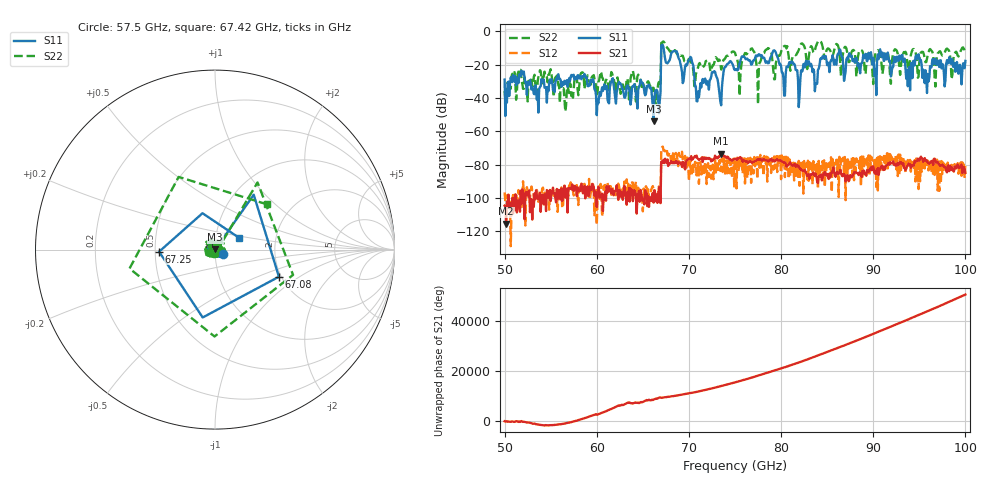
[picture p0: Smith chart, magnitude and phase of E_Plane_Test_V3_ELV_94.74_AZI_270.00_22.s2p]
! 11/26/2026 4:13:51 PM
! C:\ANRITSUVNA\TEMP\TEMP.S2P
! CHANNEL.1
! TR.MEASUREMENT
! RAW.DATA
# HZ S RI R 50.0
! FREQ.HZ  S11RE  S11IM  S21RE  S21IM  S12RE  S12IM  S22RE  S22IM
!; PortSelection: Port_12
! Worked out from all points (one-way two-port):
!   601 points, 50 GHz to 100 GHz, reference 50 ohm
!   highest |S21| = -73.51 dB at 73.5 GHz (marker M1); lowest = -115.4 dB at 50.17 GHz (marker M2)
!   lowest |S11| = -54.1 dB at 66.17 GHz (marker M3), VSWR 1.00, Z = 50.1 + j0.144 ohm
!   |S11| at or under -10 dB: start of sweep to 67 GHz; 67.24 GHz to end of sweep
!   |S22| runs from -48.2 to -5.6 dB; largest |S21 - S12| = 0.00041
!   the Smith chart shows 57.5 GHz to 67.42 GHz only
!   S11 on the Smith chart (normalised r, x): 57.5 GHz: 1.09, -0.05; 67.08 GHz: 1.94, -0.69; 67.25 GHz: 0.52, -0.01; 67.42 GHz: 1.29, +0.18
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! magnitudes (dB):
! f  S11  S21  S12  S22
! 50 GHz  -29.0  -104.6  -96.6  -35.9
! 50.17 GHz  -35.9  -115.4  -98.4  -41.0
! 57.5 GHz  -26.2  -95.8  -98.5  -34.6
! 58.42 GHz  -27.1  -94.3  -91.7  -24.7
! 60.17 GHz  -43.2  -93.3  -92.3  -30.4
! 66.17 GHz  -54.1  -102.7  -95.0  -34.0
! 66.67 GHz  -41.5  -98.7  -96.2  -31.6
! 67.08 GHz  -8.3  -77.9  -69.5  -6.8
! 67.25 GHz  -10.1  -77.1  -71.5  -6.2
! 67.42 GHz  -16.6  -76.5  -72.0  -8.3
! 70.17 GHz  -15.4  -76.8  -77.4  -18.5
! 70.67 GHz  -33.0  -74.8  -78.3  -33.0
! 73.5 GHz  -44.4  -73.5  -80.9  -23.0
! 75 GHz  -23.3  -76.3  -76.9  -13.0
! 79.25 GHz  -11.5  -78.2  -75.1  -28.9
! 80.25 GHz  -28.0  -78.5  -78.2  -9.3
! 83.42 GHz  -24.5  -85.5  -91.8  -10.8
! 91.67 GHz  -16.8  -79.0  -73.5  -15.2
! 93.75 GHz  -33.0  -80.3  -77.2  -21.3
! 94.83 GHz  -14.9  -76.3  -76.2  -27.9
! 95.83 GHz  -37.1  -77.5  -80.7  -16.5
! 100 GHz  -17.8  -84.9  -79.4  -12.6
